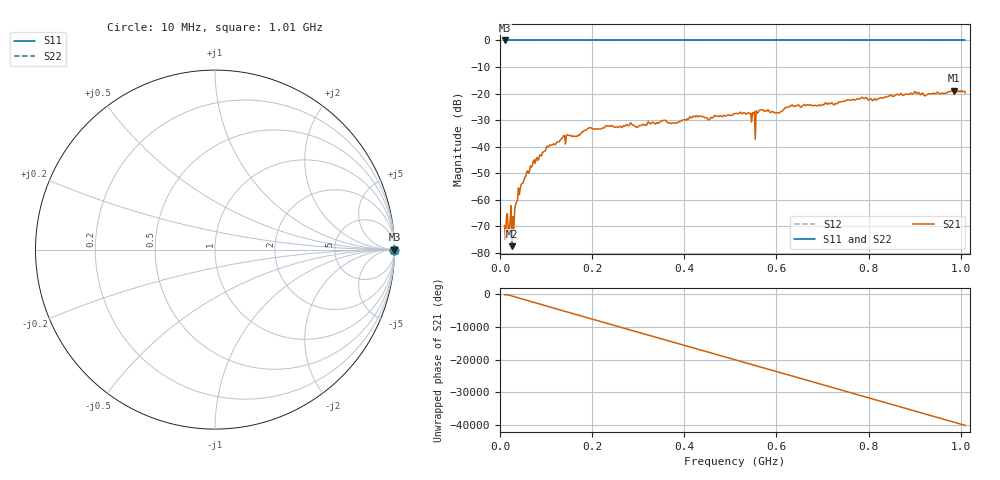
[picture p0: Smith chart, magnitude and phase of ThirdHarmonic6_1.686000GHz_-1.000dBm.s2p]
! 8/16/2025 8:14:42 PM
! C:\ANRITSUVNA\TEMP\TEMP.S2P
! CHANNEL.1
! TR.MEASUREMENT
! RAW.DATA
! RF.CORRECTION.OFF
! AVERAGING.OFF
! IF.BANDWIDTH: 5KHZ
! SWEEPTYPE:  FREQ.SWEEP(Linear)
! Reference Plane Port Info
! PORT:  PORT1  PORT2
! DISTANCE:  0  m  0  m
! TIME:  0  s  0  s
! PHASE.OFFSET:  0  deg.  0  deg.
! LOSS:  0  dB  0  dB
! REF.LOSS:  0  dB  0  dB
! REF.FREQ:  0  Hz  0  Hz
! Power Info
! POWER:  -20  dBm  -20  dBm
! EFF.POWER:  -20  dBm  -20  dBm
! SOURCE.ATTEN:  0  dB  0  dB
! TEST.ATTEN:  0  dB  0  dB
# GHZ S RI R 50.0
! FREQ.GHZ  S11RE  S11IM  S21RE  S21IM  S12RE  S12IM  S22RE  S22IM
!; PortSelection: Port_12
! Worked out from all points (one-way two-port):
!   501 points, 10 MHz to 1.01 GHz, reference 50 ohm
!   highest |S21| = -18.89 dB at 986 MHz (marker M1); lowest = -77.6 dB at 26 MHz (marker M2)
!   lowest |S11| = 0.0 dB at 10 MHz (marker M3)
!   |S11| at or under -10 dB: nowhere
!   |S22| runs from 0.0 to 0.0 dB; largest |S21 - S12| = 1.1
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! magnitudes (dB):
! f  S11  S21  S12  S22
! 10 MHz  0.0  -69.8  0.0  0.0
! 20 MHz  0.0  -71.7  0.0  0.0
! 22 MHz  0.0  -68.1  0.0  0.0
! 26 MHz  0.0  -77.6  0.0  0.0
! 30 MHz  0.0  -71.6  0.0  0.0
! 36 MHz  0.0  -60.9  0.0  0.0
! 44 MHz  0.0  -55.7  0.0  0.0
! 76 MHz  0.0  -46.4  0.0  0.0
! 136 MHz  0.0  -36.5  0.0  0.0
! 178 MHz  0.0  -34.5  0.0  0.0
! 344 MHz  0.0  -31.3  0.0  0.0
! 510 MHz  0.0  -27.5  0.0  0.0
! 540 MHz  0.0  -27.3  0.0  0.0
! 548 MHz  0.0  -27.2  0.0  0.0
! 550 MHz  0.0  -27.6  0.0  0.0
! 566 MHz  0.0  -26.2  0.0  0.0
! 602 MHz  0.0  -27.3  0.0  0.0
! 630 MHz  0.0  -24.7  0.0  0.0
! 678 MHz  0.0  -24.6  0.0  0.0
! 844 MHz  0.0  -21.0  0.0  0.0
! 986 MHz  0.0  -18.9  0.0  0.0
! 1.01 GHz  0.0  -19.8  0.0  0.0
